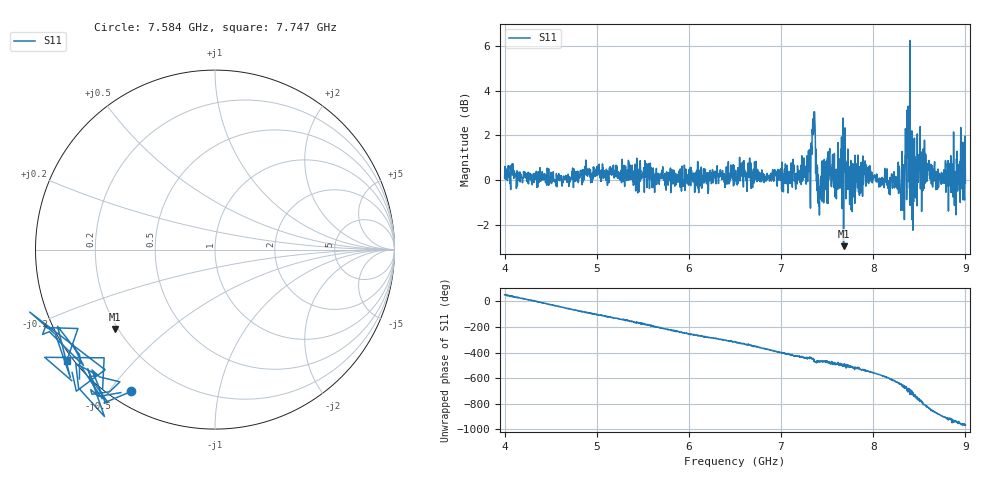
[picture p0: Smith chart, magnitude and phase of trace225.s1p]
! Created with skrf 1.8.0 (http://scikit-rf.org).
# Hz S RI R 50.0
!freq ReS11 ImS11
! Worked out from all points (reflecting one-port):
!   1601 points, 4 GHz to 9 GHz, reference 50 ohm
!   lowest |S11| = -3.0 dB at 7.678 GHz (marker M1), VSWR 5.92, Z = 9.44 - j16.9 ohm
!   phase of S11 starts at 52 deg and turns -1019 deg over the sweep
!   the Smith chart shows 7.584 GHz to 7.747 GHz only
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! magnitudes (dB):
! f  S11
! 4 GHz  0.1
! 4.625 GHz  -0.3
! 5.25 GHz  0.3
! 5.875 GHz  0.2
! 6.5 GHz  0.1
! 7.125 GHz  0.6
! 7.297 GHz  1.3
! 7.347 GHz  2.7
! 7.369 GHz  2.4
! 7.4 GHz  -1.0
! 7.422 GHz  -0.5
! 7.509 GHz  -1.1
! 7.591 GHz  0.4
! 7.678 GHz  -3.0
! 7.75 GHz  -0.3
! 7.891 GHz  -0.2
! 8.097 GHz  0.1
! 8.262 GHz  -0.4
! 8.312 GHz  1.3
! 8.375 GHz  1.3
! 8.394 GHz  -0.4
! 8.406 GHz  0.2
! 8.425 GHz  -0.3
! 8.497 GHz  1.1
! 8.712 GHz  0.1
! 8.903 GHz  0.9
! 8.972 GHz  -0.1
! 9 GHz  -0.1
